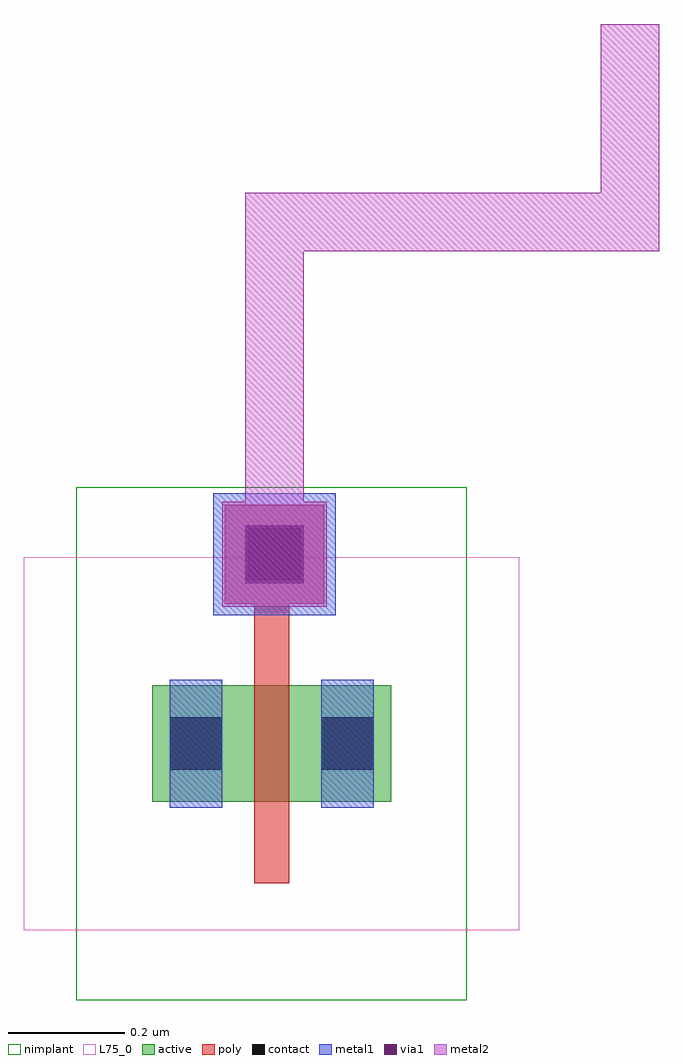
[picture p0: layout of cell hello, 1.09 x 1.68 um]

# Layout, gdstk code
import gdstk
lib = gdstk.Library(unit=1e-6, precision=1e-09)
def R(c, l, rs):  # rectangles x0, y0, x1, y1
    for r in rs: c.add(gdstk.rectangle(r[:2], r[2:], *l))
active = (6, 0)
poly = (17, 0)
nimplant = (26, 0)
contact = (30, 0)
metal1 = (31, 0)
metal2 = (32, 0)
via1 = (51, 0)
L75_0 = (75, 0)

nch_cdns_565596704250 = lib.new_cell('nch_CDNS_565596704250')
R(nch_cdns_565596704250, active, [(-0.175,0,0,0.2), (0,0,0.06,0.2), (0.06,0,0.235,0.2)])
R(nch_cdns_565596704250, poly, [(0,-0.14,0.06,0), (0,0,0.06,0.2), (0,0.2,0.06,0.34)])
R(nch_cdns_565596704250, nimplant, [(-0.305,-0.34,0.365,0.54)])
R(nch_cdns_565596704250, contact, [(-0.145,0.055,-0.055,0.145), (0.115,0.055,0.205,0.145)])
R(nch_cdns_565596704250, metal1, [(-0.145,-0.01,-0.055,0.21), (0.115,-0.01,0.205,0.21)])
R(nch_cdns_565596704250, L75_0, [(-0.395,-0.22,0.455,0.42)])
nch_cdns_565596704250.add(gdstk.Label('& SerialNumber 000000', (0,0), layer=63, texttype=63))
nch_cdns_565596704250.add(gdstk.Label('& Distributor TSMC', (0,0), layer=63, texttype=63))
nch_cdns_565596704250.add(gdstk.Label('& Metric 1', (0,0), layer=63, texttype=63))
nch_cdns_565596704250.add(gdstk.Label('& PDK TechNode "CRN65LP"', (0,0), layer=63, texttype=63))
nch_cdns_565596704250.add(gdstk.Label('& Product    tsmcN65_PDK', (0,0), layer=63, texttype=63))
nch_cdns_565596704250.add(gdstk.Label('& Vendor     Taiwan Semiconductor manufacturing Corp.', (0,0), layer=63, texttype=63))
nch_cdns_565596704250.add(gdstk.Label('[@instanceName]', (0.03,0.1), layer=127, texttype=0))
nch_cdns_565596704250.add(gdstk.Label('nch\n0.2/0.06\n', (0,0), layer=127, texttype=0))
nch_cdns_565596704250.add(gdstk.Label('D', (0.16,0.1), layer=127, texttype=0))
nch_cdns_565596704250.add(gdstk.Label('S', (-0.1,0.1), layer=127, texttype=0))

nmos = lib.new_cell('nmos')
nmos.add(gdstk.Reference(nch_cdns_565596704250, (0,0)))

m2_m1_cdns_565596704250 = lib.new_cell('M2_M1_CDNS_565596704250')
R(m2_m1_cdns_565596704250, metal1, [(-0.105,-0.105,0.105,0.105)])
R(m2_m1_cdns_565596704250, metal2, [(-0.09,-0.09,0.09,0.09)])
R(m2_m1_cdns_565596704250, via1, [(-0.05,-0.05,0.05,0.05)])

m1_po_cdns_565596704251 = lib.new_cell('M1_PO_CDNS_565596704251')
R(m1_po_cdns_565596704251, poly, [(-0.085,-0.085,0.085,0.085)])
R(m1_po_cdns_565596704251, contact, [(-0.045,-0.045,0.045,0.045)])
R(m1_po_cdns_565596704251, metal1, [(-0.105,-0.105,0.105,0.105)])

hello = lib.new_cell('hello')
hello.add(gdstk.FlexPath([(0.035,0.375),(0.035,0.995),(0.645,0.995),(0.645,1.335)], 0.1, ends="flush", simple_path=True, layer=32, datatype=0))  # metal2
hello.add(gdstk.Reference(nmos, (0,0)))
hello.add(gdstk.Reference(m2_m1_cdns_565596704250, (0.035,0.425)))
hello.add(gdstk.Reference(m1_po_cdns_565596704251, (0.035,0.425)))

lib.write_gds('hello.gds')
